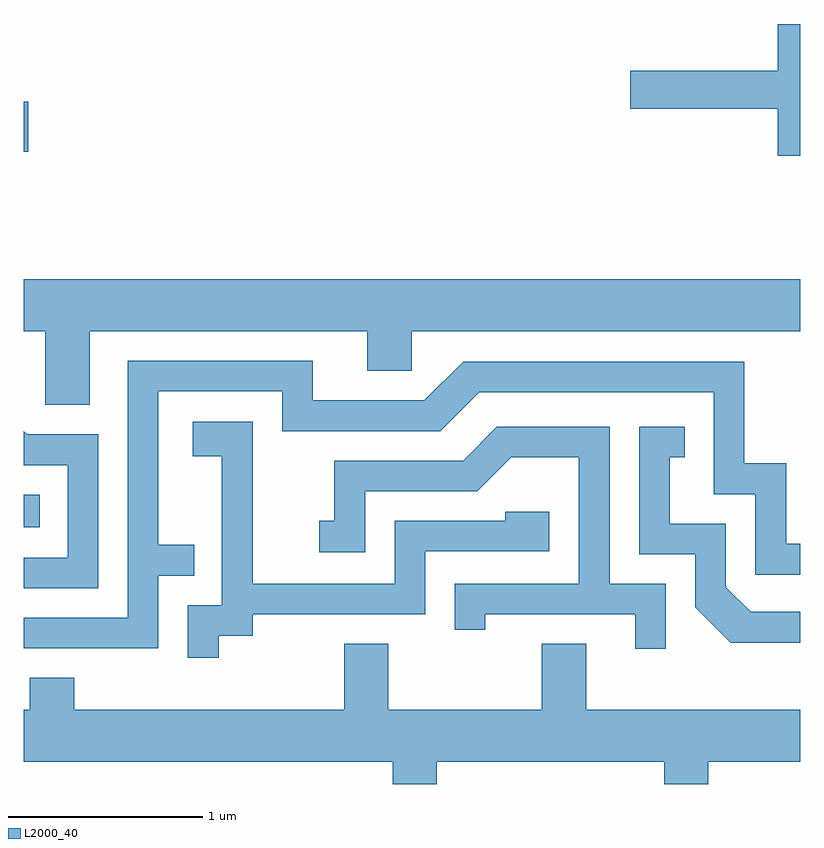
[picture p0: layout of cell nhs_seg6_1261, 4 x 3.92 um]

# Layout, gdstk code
import gdstk
lib = gdstk.Library(unit=1e-6, precision=1e-09)
def R(c, l, rs):  # rectangles x0, y0, x1, y1
    for r in rs: c.add(gdstk.rectangle(r[:2], r[2:], *l))
def P(c, l, *ps):  # polygons
    for p in ps: c.add(gdstk.Polygon(p, *l))
L2000_40 = (2000, 40)

nhs_seg6_1261 = lib.new_cell('nhs_seg6_1261')
R(nhs_seg6_1261, L2000_40, [(223.611,1533.486,223.693,1533.654), (223.611,1535.421,223.634,1535.679)])
P(nhs_seg6_1261, L2000_40, [(227.611,1536.079),(227.496,1536.079),(227.496,1535.839),(226.736,1535.839),(226.736,1535.641),(227.496,1535.641),(227.496,1535.401),(227.611,1535.401)],
  [(223.949,1534.496),(225.381,1534.496),(225.381,1534.291),(225.609,1534.291),(225.609,1534.496),(227.611,1534.496),(227.611,1534.764),(223.611,1534.764),(223.611,1534.496),(223.721,1534.496),(223.721,1534.116),(223.949,1534.116)],
  [(224.304,1533.236),(224.488,1533.236),(224.488,1533.394),(224.304,1533.394),(224.304,1534.186),(224.941,1534.186),(224.941,1533.981),(225.757,1533.981),(225.957,1534.181),(227.166,1534.181),(227.166,1533.656),(227.381,1533.656),(227.381,1533.241),(227.611,1533.241),(227.611,1533.399),(227.539,1533.399),(227.539,1533.814),(227.324,1533.814),(227.324,1534.339),(225.874,1534.339),(225.674,1534.139),(225.099,1534.139),(225.099,1534.344),(224.146,1534.344),(224.146,1533.019),(223.611,1533.019),(223.611,1532.861),(224.304,1532.861)],
  [(224.614,1532.926),(224.789,1532.926),(224.789,1533.036),(225.679,1533.036),(225.679,1533.361),(226.319,1533.361),(226.319,1533.564),(226.091,1533.564),(226.091,1533.519),(225.521,1533.519),(225.521,1533.194),(224.789,1533.194),(224.789,1534.029),(224.481,1534.029),(224.481,1533.851),(224.631,1533.851),(224.631,1533.084),(224.456,1533.084),(224.456,1532.813),(224.614,1532.813)],
  [(227.611,1533.049),(227.357,1533.049),(227.229,1533.177),(227.229,1533.504),(226.939,1533.504),(226.939,1533.846),(227.018,1533.846),(227.018,1534.004),(226.781,1534.004),(226.781,1533.346),(227.071,1533.346),(227.071,1533.074),(227.254,1532.891),(227.611,1532.891)],
  [(226.919,1533.194),(226.629,1533.194),(226.629,1534.004),(226.049,1534.004),(225.874,1533.829),(225.211,1533.829),(225.211,1533.519),(225.133,1533.519),(225.133,1533.356),(225.369,1533.356),(225.369,1533.671),(225.947,1533.671),(226.122,1533.846),(226.471,1533.846),(226.471,1533.194),(225.831,1533.194),(225.831,1532.958),(225.989,1532.958),(225.989,1533.036),(226.761,1533.036),(226.761,1532.858),(226.919,1532.858)],
  [(223.994,1533.964),(223.627,1533.964),(223.611,1533.98),(223.611,1533.806),(223.836,1533.806),(223.836,1533.329),(223.611,1533.329),(223.611,1533.171),(223.994,1533.171)],
  [(225.739,1532.276),(226.911,1532.276),(226.911,1532.162),(227.139,1532.162),(227.139,1532.276),(227.611,1532.276),(227.611,1532.544),(226.509,1532.544),(226.509,1532.884),(226.281,1532.884),(226.281,1532.544),(225.489,1532.544),(225.489,1532.884),(225.261,1532.884),(225.261,1532.544),(223.869,1532.544),(223.869,1532.709),(223.641,1532.709),(223.641,1532.544),(223.611,1532.544),(223.611,1532.276),(225.511,1532.276),(225.511,1532.162),(225.739,1532.162)])

lib.write_gds('nhs_seg6_1261.gds')
